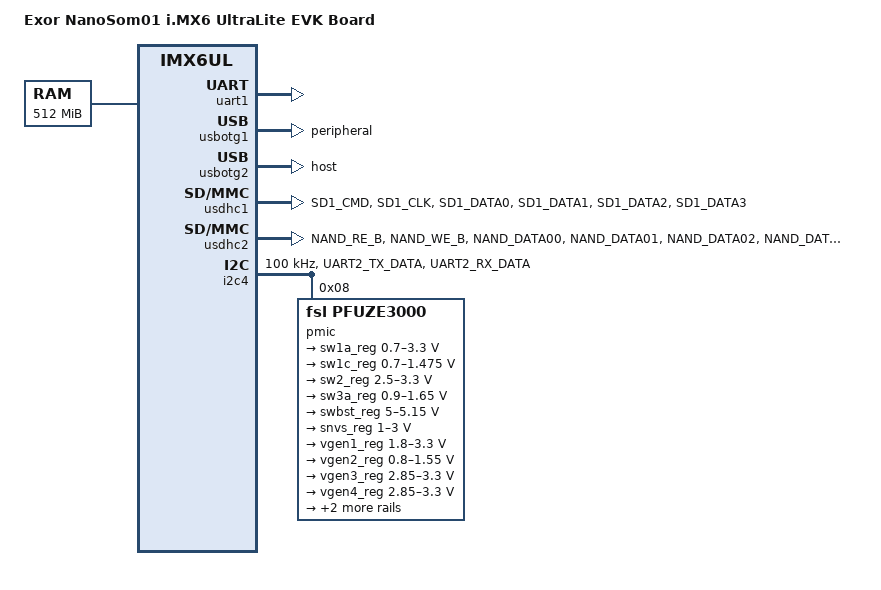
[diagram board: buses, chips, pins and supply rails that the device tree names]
/*
 * Copyright (C) 2017 Exor International.
 *
 * This program is free software; you can redistribute it and/or modify
 * it under the terms of the GNU General Public License version 2 as
 * published by the Free Software Foundation.
 */

/dts-v1/;

#include <dt-bindings/input/input.h>
#include "imx6ul.dtsi"

/ {
	model = "Exor NanoSom01 i.MX6 UltraLite EVK Board";
	compatible = "exor,ns01-evk", "fsl,imx6ul";

	chosen {
		stdout-path = &uart1;
	};

	memory {
		reg = <0x80000000 0x20000000>;
	};


};

&cpu0 {
	arm-supply = <&reg_arm>;
	soc-supply = <&reg_soc>;
};

&gpc {
	fsl,cpu_pupscr_sw2iso = <0x2>;
	fsl,cpu_pupscr_sw = <0x1>;
	fsl,cpu_pdnscr_iso2sw = <0x1>;
	fsl,cpu_pdnscr_iso = <0x1>;
	fsl,wdog-reset = <1>; /* watchdog select of reset source */
	fsl,ldo-bypass = <1>; /* use ldo-bypass, u-boot will check it and configure */
};

&uart1 {
	pinctrl-names = "default";
	status = "okay";
};

&usbotg1 {
	dr_mode = "peripheral";
	status = "okay";
};

&usbotg2 {
	dr_mode = "host";
	status = "okay";
};


&usdhc1 {
	pinctrl-names = "default";
	pinctrl-0 = <&pinctrl_usdhc1>;
	cd_gpios = <&gpio1 19 0>;
	keep-power-in-suspend;
	enable-sdio-wakeup;
	status = "okay";
};

&usdhc2 {
	pinctrl-names = "default";
	pinctrl-0 = <&pinctrl_usdhc2>;
	no-1-8-v;
	keep-power-in-suspend;
	enable-sdio-wakeup;
	status = "okay";
};

&i2c4 {
	clock-frequency = <100000>;
	pinctrl-names = "default";
	pinctrl-0 = <&pinctrl_i2c4>;
	status = "okay";

	pmic: pfuze3000@08 {
		compatible = "fsl,pfuze3000";
		reg = <0x08>;

		regulators {
			sw1a_reg: sw1a {
					regulator-min-microvolt = <700000>;
					regulator-max-microvolt = <3300000>;
					regulator-boot-on;
					regulator-always-on;
					regulator-ramp-delay = <6250>;
			};

			/* use sw1c_reg to align with pfuze100/pfuze200 */
			sw1c_reg: sw1b {
				regulator-min-microvolt = <700000>;
				regulator-max-microvolt = <1475000>;
				regulator-boot-on;
				regulator-always-on;
				regulator-ramp-delay = <6250>;
			};

			sw2_reg: sw2 {
				regulator-min-microvolt = <2500000>;
				regulator-max-microvolt = <3300000>;
				regulator-boot-on;
				regulator-always-on;
			};

			sw3a_reg: sw3 {
				regulator-min-microvolt = <900000>;
				regulator-max-microvolt = <1650000>;
				regulator-boot-on;
				regulator-always-on;
			};

			swbst_reg: swbst {
				regulator-min-microvolt = <5000000>;
				regulator-max-microvolt = <5150000>;
			};

			snvs_reg: vsnvs {
				regulator-min-microvolt = <1000000>;
				regulator-max-microvolt = <3000000>;
				regulator-boot-on;
				regulator-always-on;
			};

			vref_reg: vrefddr {
				regulator-boot-on;
				regulator-always-on;
			};

			vgen1_reg: vldo1 {
				regulator-min-microvolt = <1800000>;
				regulator-max-microvolt = <3300000>;
				regulator-always-on;
			};

			vgen2_reg: vldo2 {
				regulator-min-microvolt = <800000>;
				regulator-max-microvolt = <1550000>;
				regulator-always-on;
			};

			vgen3_reg: vccsd {
				regulator-min-microvolt = <2850000>;
				regulator-max-microvolt = <3300000>;
				regulator-always-on;
			};

			vgen4_reg: v33 {
				regulator-min-microvolt = <2850000>;
				regulator-max-microvolt = <3300000>;
				regulator-always-on;
			};

			vgen5_reg: vldo3 {
				regulator-min-microvolt = <1800000>;
				regulator-max-microvolt = <3300000>;
				regulator-always-on;
			};

			vgen6_reg: vldo4 {
				regulator-min-microvolt = <1800000>;
				regulator-max-microvolt = <3300000>;
				regulator-always-on;
			};
		};
	};
};

&iomuxc {
	imx6ul-evk {
		pinctrl_usdhc1: usdhc1grp {
			fsl,pins = <
				MX6UL_PAD_SD1_CMD__USDHC1_CMD     0x17059
				MX6UL_PAD_SD1_CLK__USDHC1_CLK     0x10059
				MX6UL_PAD_SD1_DATA0__USDHC1_DATA0 0x17059
				MX6UL_PAD_SD1_DATA1__USDHC1_DATA1 0x17059
				MX6UL_PAD_SD1_DATA2__USDHC1_DATA2 0x17059
				MX6UL_PAD_SD1_DATA3__USDHC1_DATA3 0x17059
			>;
		};

		pinctrl_usdhc2: usdhc2grp {
			fsl,pins = <
				MX6UL_PAD_NAND_RE_B__USDHC2_CLK     0x17059
				MX6UL_PAD_NAND_WE_B__USDHC2_CMD     0x17059
				MX6UL_PAD_NAND_DATA00__USDHC2_DATA0 0x17059
				MX6UL_PAD_NAND_DATA01__USDHC2_DATA1 0x17059
				MX6UL_PAD_NAND_DATA02__USDHC2_DATA2 0x17059
				MX6UL_PAD_NAND_DATA03__USDHC2_DATA3 0x17059
			>;
		};

		pinctrl_i2c4: i2c4grp {
			fsl,pins = <
				MX6UL_PAD_UART2_TX_DATA__I2C4_SCL 0x4001b8b0
				MX6UL_PAD_UART2_RX_DATA__I2C4_SDA 0x4001b8b0
			>;
		};
	};
};
